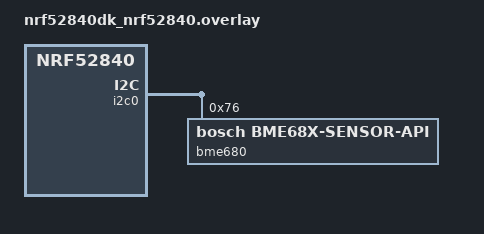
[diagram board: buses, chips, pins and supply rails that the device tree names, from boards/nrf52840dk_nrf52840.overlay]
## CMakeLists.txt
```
# SPDX-License-Identifier: Apache-2.0

cmake_minimum_required(VERSION 3.20.5)

# Add path to the extra module if bme68x is not
# installed as an external project managed by West:
#
# list(APPEND ZEPHYR_EXTRA_MODULES
#    ${CMAKE_SOURCE_DIR}/../..
# )

find_package(Zephyr REQUIRED HINTS $ENV{ZEPHYR_BASE})
project(sample-bme68x-tphg)

target_sources(app PRIVATE
  src/bme68x_tphg.c
  src/main.c
)

target_compile_options(app PRIVATE -Wall -Werror)
```

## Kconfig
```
# Copyright (c) 2024, Chris Duf
#
# SPDX-License-Identifier: Apache-2.0

menu "BME68X Sample - TPHG"

config BME68X_TPHG_AMBIENT_TEMP
	int "Expected ambient temperature (degree Celsius)"
	default 25
	help
	  Initial value of the estimated ambient temperature
	  used to compute heater resistance.

choice
	prompt "Temperature oversampling"
	default BME68X_TPHG_TEMP_OS_2X
	help
	  Select temperature oversampling for the BME68X sensor.
	  Higher values reduce noise but lead to higher power consumption.

config BME68X_TPHG_TEMP_OS_1X
	bool "x1"
config BME68X_TPHG_TEMP_OS_2X
	bool "x2"
config BME68X_TPHG_TEMP_OS_4X
	bool "x4"
config BME68X_TPHG_TEMP_OS_8X
	bool "x8"
config BME68X_TPHG_TEMP_OS_16X
	bool "x16"
config BME68X_TPHG_TEMP_OS_NONE
	bool "Off"
	help
	  Switch off measurement
endchoice # "Temperature oversampling"

choice
	prompt "Pressure oversampling"
	default BME68X_TPHG_PRESS_OS_16X
	help
	  Select pressure oversampling for the BME68X sensor.
	  Higher values reduce noise but lead to higher power consumption.

config BME68X_TPHG_PRESS_OS_1X
	bool "x1"
config BME68X_TPHG_PRESS_OS_2X
	bool "x2"
config BME68X_TPHG_PRESS_OS_4X
	bool "x4"
config BME68X_TPHG_PRESS_OS_8X
	bool "x8"
config BME68X_TPHG_PRESS_OS_16X
	bool "x16"
config BME68X_TPHG_PRESS_OS_NONE
	bool "Off"
	help
	  Switch off measurement
endchoice # "Pressure oversampling"

choice
	prompt "Humidity oversampling"
	default BME68X_TPHG_HUM_OS_1X
	help
	  Select humidity oversampling for the BME68X sensor.
	  Higher values reduce noise but lead to higher power consumption.

config BME68X_TPHG_HUM_OS_1X
	bool "x1"
config BME68X_TPHG_HUM_OS_2X
	bool "x2"
config BME68X_TPHG_HUM_OS_4X
	bool "x4"
config BME68X_TPHG_HUM_OS_8X
	bool "x8"
config BME68X_TPHG_HUM_OS_16X
	bool "x16"
config BME68X_TPHG_HUM_OS_NONE
	bool "Off"
	help
	  Switch off measurement
endchoice # "Humidity oversampling"

choice
	prompt "IIR filter coefficient"
	default BME68X_TPHG_FILTER_OFF
	help
      Use the FILTER_FILTER filter to suppress short-term changes (e.g. slamming of door
	  or wind blowing into the sensor) in the environment.

	  The FILTER_FILTER effectively reduces the bandwidth of the temperature and pressure
	  output signals and increases the resolution of the output data to 20 bit,
	  noting that the humidity and gas values inside the sensor does not
	  fluctuate rapidly and does not require low pass filtering.

config BME68X_TPHG_FILTER_OFF
	bool "Filter off"
config BME68X_TPHG_FILTER_2
	bool "2"
config BME68X_TPHG_FILTER_4
	bool "4"
config BME68X_TPHG_FILTER_8
	bool "8"
config BME68X_TPHG_FILTER_16
	bool "16"
config BME68X_TPHG_FILTER_32
	bool "32"
config BME68X_TPHG_FILTER_64
	bool "64"
config BME68X_TPHG_FILTER_128
	bool "128"
endchoice # "IIR filter coefficient"

choice
	prompt "Gas Sensor"
	default BME68X_TPHG_HEATR_LP
	help
	  Enable gas sensor (gas resistance measurements)
	  and configure heating profile for LP or ULP mode.

config BME68X_TPHG_HEATR_LP
	bool "Low Power (LP)"
	help
	  Low power (LP) mode is designed for interactive applications
	  where the air quality is tracked and observed at a higher update rate
	  of 3 seconds with a current consumption of <1 mA.

	  The corresponding heating profile is:
	  - temperature set-point: 320 degC
	  - heating duration: 197 ms

config BME68X_TPHG_HEATR_ULP
	bool "Ultra Low Power (ULP)"
	help
	  Ultra low power (ULP) mode is designed for battery-powered and/or
	  frequency-coupled devices over extended periods of time.
	  This mode features an update rate of 300 seconds
	  and an average current consumption of <0.1 mA.

	  The corresponding heating profile is:
	  - temperature set-point: 400 degC
	  - heating duration: 1943 ms

config BME68X_TPHG_HEATR_NONE
	bool "Off"
	help
	  Switch off gas measurement.
endchoice # "Gas Sensor"
config BME68X_TPHG_HEATR_TEMP
	int
	# Values from Zephyr driver for "bosch,bme680" compatible devices.
	default 320 if BME68X_TPHG_HEATR_LP
	default 400 if BME68X_TPHG_HEATR_ULP
	default 0 if BME68X_TPHG_HEATR_NONE
config BME68X_TPHG_HEATR_DUR
	int
	# Values from Zephyr driver for "bosch,bme680" compatible devices.
	default 197 if BME68X_TPHG_HEATR_LP
	default 1943 if BME68X_TPHG_HEATR_ULP
	default 0 if BME68X_TPHG_HEATR_NONE

config BME68X_TPHG_SAMPLE_RATE
	int "Measurements period (seconds)"
	default 3 if BME68X_TPHG_HEATR_LP
	default 300 if BME68X_TPHG_HEATR_ULP
	default 60 if BME68X_TPHG_HEATR_NONE
	help
	  Waiting time between each measurement in seconds.

	  ULP mode is designed for a sample rate of around 300 seconds.

	  LP mode is designed for interactive applications
	  and supports a higher sample rate of 3 seconds.

	  Default to one minute if gas measurements are disabled.


module = BME68X_SAMPLE
module-str = app
source "subsys/logging/Kconfig.template.log_config"

endmenu # "BME68X Sample - TPHG"

source "Kconfig.zephyr"
```

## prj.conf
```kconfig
# SPDX-License-Identifier: Apache-2.0

# Implied when the devicetree contains compatible devices:
# CONFIG_BME68X_SENSOR_API_DRIVER=y
# CONFIG_BME68X_SENSOR_API=y
# CONFIG_I2C=y
# CONFIG_SPI=y

# To enable the floating-point version of BME68X Sensor API:
# CONFIG_BME68X_SENSOR_API_FLOAT=y
# If so, consider to also enable float support in cbprintf():
# CONFIG_CBPRINTF_FP_SUPPORT=y
#
# Without CBPRINTF_FP_SUPPORT, logging float format specifiers
# would output:
# - picolibc: T:*float* deg C, P:*float* kPa, H:*float* %, G:*float* kOhm
# - newlibc:  T:%.02f deg C, P:%.03f kPa, H:%.03f %, G:%.03f kOhm
#
# See e.g. https://github.com/zephyrproject-rtos/zephyr/issues/18351

# To enable hardware floating-point ABI:
# CONFIG_FPU=y

# Run application in User Mode.
# CONFIG_USERSPACE=y

# Troubleshoot communication interfaces
# CONFIG_I2C_LOG_LEVEL_DBG=y
# CONFIG_SPI_LOG_LEVEL_DBG=y

CONFIG_LOG=y
CONFIG_STDOUT_CONSOLE=y
```

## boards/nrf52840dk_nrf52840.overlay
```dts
/*
 * SPDX-License-Identifier: Apache-2.0
 *
 * Example DTS overlay with a single BME680/688 device
 * connected to I2C with slave address 0x76.
 */

&i2c0 {
	bme680@76 {
		compatible = "bosch,bme68x-sensor-api";
		reg = <0x76>;
	};
};
```

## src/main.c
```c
/*
 * Copyright (c) 2024, Chris Duf
 *
 * SPDX-License-Identifier: Apache-2.0
 *
 * Forced mode TPHG measurements with a single heater set-point.
 *
 * Test application for the BME68X Sensor API driver.
 */

#include <zephyr/kernel.h>
#include <zephyr/logging/log.h>

#include <drivers/bme68x_sensor_api.h>

#include "bme68x.h"

#include "bme68x_tphg.h"

LOG_MODULE_REGISTER(app, CONFIG_BME68X_SAMPLE_LOG_LEVEL);

/*
 * User thread definition when testing User Mode.
 */
#if CONFIG_USERSPACE
#define BME68X_TPHG_STACK_SIZE 1024
#define BME68X_TPHG_PRIORITY   (CONFIG_NUM_PREEMPT_PRIORITIES - 1)

K_THREAD_STACK_DEFINE(bme68x_tphg_stack_area, BME68X_TPHG_STACK_SIZE);
struct k_thread bme68x_tphg_thrd;

#endif /* CONFIG_USERSPACE */

/*
 * What to do upon new TPHG measurements.
 */
static void bme68x_tphg_data_sink(struct bme68x_tphg_meas const *meas)
{
#if BME68X_SENSOR_API_FLOAT
	if (meas->gas_valid && meas->heatr_stab) {
		LOG_INF("T:%.02f deg C, P:%.03f kPa, H:%.03f %%, G:%.03f kOhm",
			(double)meas->data.temperature, (double)meas->data.pressure / 1000.0,
			(double)meas->data.humidity, (double)meas->data.gas_resistance / 1000.0);
	} else {
		LOG_INF("T:%.02f deg C, P:%.03f kPa, H:%.03f %%, G:? (0x%0x)",
			(double)meas->data.temperature, (double)meas->data.pressure / 1000.0,
			(double)meas->data.humidity, meas->data.status);
	}
#else
	if (meas->gas_valid && meas->heatr_stab) {
		LOG_INF("T:%d.%02u deg C, P:%u.%03u kPa, H:%u.%03u %%, G:%u.%03u kOhm",
			meas->data.temperature / 100, meas->data.temperature % 100,
			meas->data.pressure / 1000, meas->data.pressure % 1000,
			meas->data.humidity / 1000, meas->data.humidity % 1000,
			meas->data.gas_resistance / 1000, meas->data.gas_resistance % 1000);
	} else {
		LOG_INF("T:%d.%02u deg C, P:%u.%03u kPa, H:%u.%03u %%, G:? (0x%0x)",
			meas->data.temperature / 100, meas->data.temperature % 100,
			meas->data.pressure / 1000, meas->data.pressure % 1000,
			meas->data.humidity / 1000, meas->data.humidity % 1000, meas->data.status);
	}
#endif
}

/*
 * Actual application implementation with prototype compatible
 * with thread entry points.
 *
 * Permits to easily test User Mode.
 */
static void bme68x_tphg_main(void *p1, void *p2, void *p3)
{
	ARG_UNUSED(p1);
	ARG_UNUSED(p2);
	ARG_UNUSED(p3);

	/* Any compatible device will be fine. */
	struct device const *const dev = DEVICE_DT_GET_ONE(bosch_bme68x_sensor_api);

	struct bme68x_tphg_sensor sensor = {0};
	struct bme68x_tphg_meas tphg_meas = {0};
	uint32_t tphg_cycle_us;

	if (k_is_user_context()) {
		LOG_INF("User mode");
	} else {
		LOG_INF("Supervisor mode");
	}

	int err = bme68x_sensor_api_init(dev, &sensor.dev);
	if (!err) {
		err = bme68x_init(&sensor.dev);
	}
	if (err) {
		LOG_ERR("sensor initialization error: %d", err);
		return;
	}

	err = bme68x_tphg_init(&sensor);
	if (err) {
		LOG_ERR("sensor configuration error: %d", err);
		return;
	}

	/* Should not change unless the sensor is reconfigured. */
	tphg_cycle_us = bme68x_tphg_get_cycle_us(&sensor);
	LOG_INF("TPHG cycle: %u us", tphg_cycle_us);

	for (;;) {
		err = bme68x_tphg_meas_trigger(&sensor, &tphg_cycle_us);
		if (!err) {
			k_sleep(K_USEC(tphg_cycle_us));

			err = bme68x_tphg_meas_read(&sensor, &tphg_meas);
			if (!err && tphg_meas.new_data) {
				bme68x_tphg_data_sink(&tphg_meas);
			}
		}

		if (err) {
			if (err < 0) {
				/*
				 * Negative BME68X Sensor API status indicate fatal errors.
				 */
				LOG_ERR("BME68X Sensor API: %d", err);
				break;

			} else {
				/*
				 * Positive BME68X Sensor API status indicate warnings
				 * that we interpret as "try again/later"
				 */
				LOG_WRN("BME68X Sensor API: %d", err);
			}
		}

		k_sleep(K_SECONDS(BME68X_TPHG_SAMPLE_RATE));
	}
}

int main(void)
{
#if CONFIG_USERSPACE
	/*
	 * Verify that everything still works from user threads.
	 */
	k_thread_create(&bme68x_tphg_thrd, bme68x_tphg_stack_area,
			K_THREAD_STACK_SIZEOF(bme68x_tphg_stack_area), bme68x_tphg_main, NULL, NULL,
			NULL, BME68X_TPHG_PRIORITY, K_USER, K_NO_WAIT);
	k_thread_join(&bme68x_tphg_thrd, K_FOREVER);

#else
	/* Normal supervisor mode. */
	bme68x_tphg_main(NULL, NULL, NULL);
#endif

	return 0;
}
```

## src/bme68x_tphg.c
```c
/*
 * Copyright (c) 2024, Chris Duf
 *
 * SPDX-License-Identifier: Apache-2.0
 */

#include "bme68x_tphg.h"

#include <zephyr/logging/log.h>

#include "bme68x.h"

LOG_MODULE_DECLARE(app, CONFIG_BME68X_SAMPLE_LOG_LEVEL);

/* Get strings from configuration values. */
static inline char const *tph_conf_osx2str(uint8_t osx);
static inline char const *tph_conf_iir2str(uint8_t filter);

/*
 * Configure BME680/688 sensor for TPHG measurements (with settings from Kconfig).
 * @returns 0 on success, BME68X API return code.
 */
static int8_t bme68x_tphg_configure(struct bme68x_tphg_sensor *sensor);

int8_t bme68x_tphg_init(struct bme68x_tphg_sensor *sensor)
{
	int8_t ret = bme68x_init(&sensor->dev);

	if (ret == BME68X_OK) {
		sensor->dev.amb_temp = BME68X_TPHG_AMBIENT_TEMP;

		ret = bme68x_tphg_configure(sensor);
	}
	return ret;
}

int8_t bme68x_tphg_configure_tph(struct bme68x_tphg_sensor *sensor, uint8_t os_temp,
				 uint8_t os_pres, uint8_t os_hum, uint8_t iir_filter)
{
	struct bme68x_conf conf = {
		.os_temp = os_temp,
		.os_pres = os_pres,
		.os_hum = os_hum,
		.filter = iir_filter,
		.odr = BME68X_ODR_NONE,
	};
	int8_t ret = bme68x_set_conf(&conf, &sensor->dev);

	if (ret == BME68X_OK) {
		sensor->tph_conf = conf;

		LOG_INF("os_t:%s os_p:%s os_h:%s iir:%s",
			tph_conf_osx2str(sensor->tph_conf.os_temp),
			tph_conf_osx2str(sensor->tph_conf.os_pres),
			tph_conf_osx2str(sensor->tph_conf.os_hum),
			tph_conf_iir2str(sensor->tph_conf.filter));
	} else {
		LOG_ERR("sensor configuration error: %d", ret);
	}
	return ret;
}

int8_t bme68x_tphg_configure_gas(struct bme68x_tphg_sensor *sensor, uint16_t heatr_temp,
				 uint16_t heatr_dur, uint8_t gas_enable)
{
	struct bme68x_heatr_conf heatr_conf = {
		.heatr_temp = heatr_temp,
		.heatr_dur = heatr_dur,
		.enable = gas_enable,
	};
	int8_t ret = bme68x_set_heatr_conf(BME68X_FORCED_MODE, &heatr_conf, &sensor->dev);

	if (ret == BME68X_OK) {
		sensor->gas_conf = heatr_conf;

		LOG_INF("heatr_temp:%d degC  heatr_dur:%u ms", sensor->gas_conf.heatr_temp,
			sensor->gas_conf.heatr_dur);
	} else {
		LOG_ERR("heating profile error: %d", ret);
	}
	return ret;
}

int8_t bme68x_tphg_meas_trigger(struct bme68x_tphg_sensor *sensor, uint32_t *cycle_us)
{
	int8_t ret = bme68x_set_op_mode(BME68X_FORCED_MODE, &sensor->dev);

	if (ret == BME68X_OK) {
		*cycle_us = bme68x_tphg_get_cycle_us(sensor);

	} else {
		LOG_ERR("failed to switch to forced: %d", ret);
	}
	return ret;
}

int8_t bme68x_tphg_meas_read(struct bme68x_tphg_sensor *sensor, struct bme68x_tphg_meas *meas)
{
	int8_t ret;
	uint8_t n_data; /* Always 0 or 1 in forced mode.  */

	ret = bme68x_get_data(BME68X_FORCED_MODE, &meas->data, &n_data, &sensor->dev);
	if (ret == BME68X_OK) {
		meas->new_data = meas->data.status & BME68X_NEW_DATA_MSK;
		meas->heatr_stab = meas->data.status & BME68X_HEAT_STAB_MSK;
		meas->gas_valid = meas->data.status & BME68X_GASM_VALID_MSK;

	} else {
		LOG_ERR("failed to read BME68X data: %d", ret);
	}

	return ret;
}

uint32_t bme68x_tphg_get_cycle_us(struct bme68x_tphg_sensor *sensor)
{
	uint32_t heatr_dur_us = sensor->gas_conf.heatr_dur * UINT32_C(1000);
	uint32_t meas_dur_us = bme68x_get_meas_dur(BME68X_FORCED_MODE, &sensor->tph_conf,
						   &sensor->dev);
	return meas_dur_us + heatr_dur_us;
}

int8_t bme68x_tphg_configure(struct bme68x_tphg_sensor *sensor)
{
	int8_t ret = bme68x_tphg_configure_tph(sensor, BME68X_TPHG_OSX_TEMP, BME68X_TPHG_OSX_PRESS,
					       BME68X_TPHG_OSX_HUM, BME68X_TPHG_IIR_FILTER);

	if (ret == BME68X_OK) {
		ret = bme68x_tphg_configure_gas(sensor, BME68X_TPHG_HEATR_TEMP,
						BME68X_TPHG_HEATR_DUR, BME68X_TPHG_GAS_ENABLE);
	}

	return ret;
}

char const *tph_conf_osx2str(uint8_t osx)
{
	switch (osx) {
	case BME68X_OS_1X:
		return "x1";
	case BME68X_OS_2X:
		return "x2";
	case BME68X_OS_4X:
		return "x4";
	case BME68X_OS_8X:
		return "x8";
	case BME68X_OS_16X:
		return "x16";
	case BME68X_OS_NONE:
		return "off";
	default:
		return "?";
	}
}
char const *tph_conf_iir2str(uint8_t filter)
{
	switch (filter) {
	case BME68X_FILTER_SIZE_1:
		return "2";
	case BME68X_FILTER_SIZE_3:
		return "4";
	case BME68X_FILTER_SIZE_7:
		return "8";
	case BME68X_FILTER_SIZE_15:
		return "16";
	case BME68X_FILTER_SIZE_31:
		return "32";
	case BME68X_FILTER_SIZE_63:
		return "64";
	case BME68X_FILTER_SIZE_127:
		return "128";
	case BME68X_FILTER_OFF:
		return "off";
	default:
		return "?";
	}
}
```

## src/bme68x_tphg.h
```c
/*
 * Copyright (c) 2024, Chris Duf
 *
 * SPDX-License-Identifier: Apache-2.0
 *
 * Forced mode TPHG measurements:
 * - with a single heater set-point
 * - LP/ULP sample rates
 */

#ifndef _BME68X_TPHG_H_
#define _BME68X_TPHG_H_

#include "bme68x_defs.h"

/**
 * @brief Initial value of the expected ambient temperature
 * used to compute heater resistance.
 */
#define BME68X_TPHG_AMBIENT_TEMP INT8_C(CONFIG_BME68X_TPHG_AMBIENT_TEMP)

/**
 * @brief TPHG measurement period in seconds.
 */
#define BME68X_TPHG_SAMPLE_RATE UINT32_C(CONFIG_BME68X_TPHG_SAMPLE_RATE)

/**
 * @brief Temperature oversampling.
 */
#if defined(CONFIG_BME68X_TPHG_TEMP_OS_1X)
#define BME68X_TPHG_OSX_TEMP BME68X_OS_1X
#elif defined(CONFIG_BME68X_TPHG_TEMP_OS_2X)
#define BME68X_TPHG_OSX_TEMP BME68X_OS_2X
#elif defined(CONFIG_BME68X_TPHG_TEMP_OS_4X)
#define BME68X_TPHG_OSX_TEMP BME68X_OS_4X
#elif defined(CONFIG_BME68X_TPHG_TEMP_OS_8X)
#define BME68X_TPHG_OSX_TEMP BME68X_OS_8X
#elif defined(CONFIG_BME68X_TPHG_TEMP_OS_16X)
#define BME68X_TPHG_OSX_TEMP BME68X_OS_16X
#elif defined(CONFIG_BME68X_TPHG_TEMP_OS_NONE)
#define BME68X_TPHG_OSX_TEMP BME68X_OS_NONE
#endif

/**
 * @brief Pressure oversampling.
 */
#if defined(CONFIG_BME68X_TPHG_PRESS_OS_1X)
#define BME68X_TPHG_OSX_PRESS BME68X_OS_1X
#elif defined(CONFIG_BME68X_TPHG_PRESS_OS_2X)
#define BME68X_TPHG_OSX_PRESS BME68X_OS_2X
#elif defined(CONFIG_BME68X_TPHG_PRESS_OS_4X)
#define BME68X_TPHG_OSX_PRESS BME68X_OS_4X
#elif defined(CONFIG_BME68X_TPHG_PRESS_OS_8X)
#define BME68X_TPHG_OSX_PRESS BME68X_OS_8X
#elif defined(CONFIG_BME68X_TPHG_PRESS_OS_16X)
#define BME68X_TPHG_OSX_PRESS BME68X_OS_16X
#elif defined(CONFIG_BME68X_TPHG_PRESS_OS_NONE)
#define BME68X_TPHG_OSX_PRESS BME68X_OS_NONE
#endif

/**
 * @brief Humidity oversampling.
 */
#if defined(CONFIG_BME68X_TPHG_HUM_OS_1X)
#define BME68X_TPHG_OSX_HUM BME68X_OS_1X
#elif defined(CONFIG_BME68X_TPHG_HUM_OS_2X)
#define BME68X_TPHG_OSX_HUM BME68X_OS_2X
#elif defined(CONFIG_BME68X_TPHG_HUM_OS_4X)
#define BME68X_TPHG_OSX_HUM BME68X_OS_4X
#elif defined(CONFIG_BME68X_TPHG_HUM_OS_8X)
#define BME68X_TPHG_OSX_HUM BME68X_OS_8X
#elif defined(CONFIG_BME68X_TPHG_HUM_OS_16X)
#define BME68X_TPHG_OSX_HUM BME68X_OS_16X
#elif defined(CONFIG_BME68X_TPHG_HUM_OS_NONE)
#define BME68X_TPHG_OSX_HUM BME68X_OS_NONE
#endif

/**
 * @brief IIR filter coefficient.
 */
#if defined(CONFIG_BME68X_TPHG_FILTER_2)
#define BME68X_TPHG_IIR_FILTER BME68X_FILTER_SIZE_1
#elif defined(CONFIG_BME68X_TPHG_FILTER_4)
#define BME68X_TPHG_IIR_FILTER BME68X_FILTER_SIZE_3
#elif defined(CONFIG_BME68X_TPHG_FILTER_8)
#define BME68X_TPHG_IIR_FILTER BME68X_FILTER_SIZE_7
#elif defined(CONFIG_BME68X_TPHG_FILTER_16)
#define BME68X_TPHG_IIR_FILTER BME68X_FILTER_SIZE_15
#elif defined(CONFIG_BME68X_TPHG_FILTER_32)
#define BME68X_TPHG_IIR_FILTER BME68X_FILTER_SIZE_31
#elif defined(CONFIG_BME68X_TPHG_FILTER_64)
#define BME68X_TPHG_IIR_FILTER BME68X_FILTER_SIZE_63
#elif defined(CONFIG_BME68X_TPHG_FILTER_128)
#define BME68X_TPHG_IIR_FILTER BME68X_FILTER_SIZE_127
#elif defined(CONFIG_BME68X_TPHG_FILTER_OFF)
#define BME68X_TPHG_IIR_FILTER BME68X_FILTER_OFF
#endif

/**
 * @brief Temperature set-point in degree Celsius.
 */
#define BME68X_TPHG_HEATR_TEMP UINT16_C(CONFIG_BME68X_TPHG_HEATR_TEMP)

/**
 * @brief Heating duration in milliseconds.
 */
#define BME68X_TPHG_HEATR_DUR UINT16_C(CONFIG_BME68X_TPHG_HEATR_DUR)

/**
 * @brief Whether gas measurements are enabled.
 */
#if defined(BME68X_TPHG_HEATR_NONE)
#define BME68X_TPHG_GAS_ENABLE BME68X_DISABLE
#else
#define BME68X_TPHG_GAS_ENABLE BME68X_ENABLE
#endif

#ifdef __cplusplus
extern "C" {
#endif

/**
 * @brief TPHG measurement.
 */
struct bme68x_tphg_meas {
	/**
	 * @brief Convenience for `new_data_0`.
	 */
	uint8_t new_data;
	/**
	 * @brief Convenience for `gas_valid_r`.
	 */
	uint8_t gas_valid;
	/**
	 * @brief Convenience for `heat_stab_r`.
	 */
	uint8_t heatr_stab;
	/**
	 * @brief Measurement data (as floating point numbers if `CONFIG_BME68X_API_FLOAT`).
	 */
	struct bme68x_data data;
};

/**
 * @brief BME680/688 sensor.
 *
 * Convenience for a BME68X Sensor API sensor and its configuration.
 */
struct bme68x_tphg_sensor {
	/**
	 * @brief BME68X Sensor API sensor.
	 */
	struct bme68x_dev dev;
	/**
	 * @brief Temperature, pressure and humidity sensors configuration.
	 *
	 * Only oversampling and IIR filters are used (no ODR).
	 */
	struct bme68x_conf tph_conf;
	/**
	 * @brief Gas sensor configuration.
	 *
	 * A single heating profile is defined (temperature and duration).
	 */
	struct bme68x_heatr_conf gas_conf;
};

/**
 * @brief Initialize and configure sensor for TPHG measurements.
 *
 * See Kconfig for sensor configuration.
 *
 * @param sensor The sensor to configure.
 *
 * @returns 0 on success, BME68X API return code.
 */
int8_t bme68x_tphg_init(struct bme68x_tphg_sensor *sensor);

/**
 * @brief Configure the temperature, pressure and humidity sensors of the BME680/688.
 *
 * @param sensor The sensor to configure.
 * @param os_temp Temperature oversampling.
 * Zero will switch off temperature measurements (not recommended).
 * @param os_pres Pressure oversampling.
 * Zero will switch off pressure measurements.
 * @param os_temp Relative humidity oversampling.
 * Zero will switch off relative humidity measurements.
 * @param iir_filter IIR filter coefficient. Zero will disable IIR.
 *
 * @returns 0 on success, BME68X API return code.
 */
int8_t bme68x_tphg_configure_tph(struct bme68x_tphg_sensor *sensor, uint8_t os_temp,
				 uint8_t os_pres, uint8_t os_hum, uint8_t iir_filter);

/**
 * @brief Configure the gas resistance sensor of the BME680/688.
 *
 * This configures a single heater set-point.
 *
 * @param sensor The sensor to configure.
 * @param heatr_temp The target temperature in degree Celsius.
 * @param heatr_dur The heating duration in milliseconds.
 * @param gas_enable Whether to actually enable gas measurements (`BME68X_ENABLE`
 * or `BME68X_DISABLE`).
 *
 * @returns 0 on success, BME68X API return code.
 */
int8_t bme68x_tphg_configure_gas(struct bme68x_tphg_sensor *sensor, uint16_t heatr_temp,
				 uint16_t heatr_dur, uint8_t gas_enable);

/**
 * @brief Initiate a TPHG measurement cycle by switching the BME680/688 device to forced mode.
 *
 * The device will return to sleep mode once the measurement is completed.
 *
 * @param sensor The sensor to switch to forced mode.
 * @param cycle_us Output parameter for the TPHG measurement duration in microsecond.
 * This is the time to wait before reading the measure data.
 *
 * @returns 0 on success, BME68X API return code.
 */
int8_t bme68x_tphg_meas_trigger(struct bme68x_tphg_sensor *sensor, uint32_t *cycle_us);

/**
 * @brief Read TPHG data from BME680/688 device registers.
 *
 * @param sensor The sensor from which to read the data registers.
 * @param meas Output parameter for TPHG data.
 *
 * @returns 0 on success, BME68X API return code.
 */
int8_t bme68x_tphg_meas_read(struct bme68x_tphg_sensor *sensor, struct bme68x_tphg_meas *meas);

/**
 * @brief Compute forced mode TPHG measurement cycle duration in microseconds.
 *
 * The cycle includes:
 * - the wake-up time needed to reach the forced mode
 * - the time needed to measure temperature, pressure and humidity
 * - the heating duration needed before we can measure the gas resistance
 *
 * @note We'd prefer a const-qualified sensor, but bme68x_get_meas_dur() expects
 * a non-const device.
 *
 * @param sensor The sensor to compute the TPHG cycle of.
 *
 * @return TPHG cycle duration in microsecond for the current sensor configuration.
 */
uint32_t bme68x_tphg_get_cycle_us(struct bme68x_tphg_sensor *sensor);

#ifdef __cplusplus
}
#endif

#endif /* _BME68X_TPHG_H_ */
```
